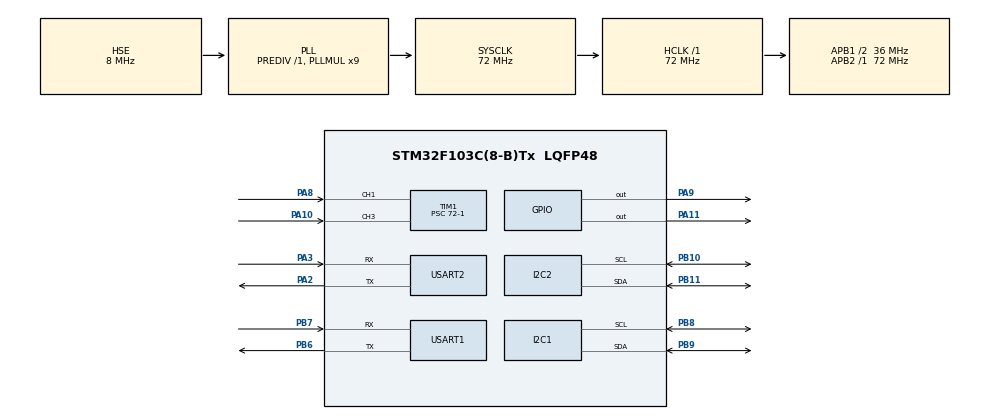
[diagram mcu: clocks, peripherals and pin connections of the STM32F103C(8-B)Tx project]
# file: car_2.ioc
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I2C1.I2C_Mode=I2C_Fast
I2C2.I2C_Mode=I2C_Fast
Mcu.Family=STM32F1
Mcu.Name=STM32F103C(8-B)Tx
Mcu.Package=LQFP48
NVIC.PriorityGroup=NVIC_PRIORITYGROUP_4
NVIC.TIM1_CC_IRQn=true\:0\:0\:false\:false\:true\:true\:true\:true
NVIC.USART2_IRQn=true\:0\:0\:false\:false\:true\:true\:true\:true
PA10.Signal=S_TIM1_CH3
PA11.Signal=GPIO_Output
PA13.Mode=Serial_Wire
PA13.Signal=SYS_JTMS-SWDIO
PA14.Mode=Serial_Wire
PA14.Signal=SYS_JTCK-SWCLK
PA2.Mode=Asynchronous
PA2.Signal=USART2_TX
PA3.Mode=Asynchronous
PA3.Signal=USART2_RX
PA8.Signal=S_TIM1_CH1
PA9.Signal=GPIO_Output
PB10.Mode=I2C
PB10.Signal=I2C2_SCL
PB11.Mode=I2C
PB11.Signal=I2C2_SDA
PB6.Mode=Asynchronous
PB6.Signal=USART1_TX
PB7.Mode=Asynchronous
PB7.Signal=USART1_RX
PB8.Mode=I2C
PB8.Signal=I2C1_SCL
PB9.Mode=I2C
PB9.Signal=I2C1_SDA
PD0-OSC_IN.Mode=HSE-External-Oscillator
PD0-OSC_IN.Signal=RCC_OSC_IN
PD1-OSC_OUT.Mode=HSE-External-Oscillator
PD1-OSC_OUT.Signal=RCC_OSC_OUT
ProjectManager.HeapSize=0x200
ProjectManager.StackSize=0x400
ProjectManager.TargetToolchain=MDK-ARM V5.32
RCC.AHBFreq_Value=72000000
RCC.APB1CLKDivider=RCC_HCLK_DIV2
RCC.APB1Freq_Value=36000000
RCC.APB1TimFreq_Value=72000000
RCC.APB2Freq_Value=72000000
RCC.APB2TimFreq_Value=72000000
RCC.HCLKFreq_Value=72000000
RCC.PLLMUL=RCC_PLL_MUL9
RCC.PLLSourceVirtual=RCC_PLLSOURCE_HSE
RCC.SYSCLKFreq_VALUE=72000000
RCC.SYSCLKSource=RCC_SYSCLKSOURCE_PLLCLK
RCC.USBFreq_Value=72000000
SH.S_TIM1_CH1.0=TIM1_CH1,Input_Capture1_from_TI1
SH.S_TIM1_CH3.0=TIM1_CH3,Input_Capture3_from_TI3
TIM1.Channel-Input_Capture1_from_TI1=TIM_CHANNEL_1
TIM1.Channel-Input_Capture2_from_TI1_63=TIM_CHANNEL_2
TIM1.Channel-Input_Capture3_from_TI3=TIM_CHANNEL_3
TIM1.Channel-Input_Capture4_from_TI3_63=TIM_CHANNEL_4
TIM1.ICPolarity_CH2=TIM_INPUTCHANNELPOLARITY_FALLING
TIM1.ICPolarity_CH4=TIM_INPUTCHANNELPOLARITY_FALLING
TIM1.Prescaler=72-1
USART1.VirtualMode=VM_ASYNC
USART2.VirtualMode=VM_ASYNC
VP_TIM1_VS_ClockSourceINT.Mode=Internal
VP_TIM1_VS_indirect_ch1.Mode=Input_Capture2_from_TI1_63
VP_TIM1_VS_indirect_ch3.Mode=Input_Capture4_from_TI3_63
board=custom

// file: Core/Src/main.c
/* USER CODE BEGIN Header */
/**
  ******************************************************************************
  * @file           : main.c
  * @brief          : Main program body
  ******************************************************************************
  * @attention
  *
  * Copyright (c) 2026 STMicroelectronics.
  * All rights reserved.
  *
  * This software is licensed under terms that can be found in the LICENSE file
  * in the root directory of this software component.
  * If no LICENSE file comes with this software, it is provided AS-IS.
  *
  ******************************************************************************
  */
/* USER CODE END Header */
#include "main.h"
#include "i2c.h"
#include "tim.h"
#include "usart.h"
#include "gpio.h"

/* USER CODE BEGIN Includes */
#include "oled.h"
#include "stdio.h"
#include "font.h"
/* USER CODE END Includes */

void SystemClock_Config(void);

/* USER CODE BEGIN 0 */
int upEdge=0;
int downEdge=0;
float distance=0;
float distance_2=0;
void HAL_TIM_IC_CaptureCallback(TIM_HandleTypeDef *htim)
{
	if(htim==&htim1 && htim->Channel==HAL_TIM_ACTIVE_CHANNEL_4)
	{
		upEdge=HAL_TIM_ReadCapturedValue(htim,TIM_CHANNEL_3);
		downEdge=HAL_TIM_ReadCapturedValue(htim,TIM_CHANNEL_4);
		distance=(downEdge-upEdge)*0.034/2;

	}
	if(htim==&htim1 && htim->Channel==HAL_TIM_ACTIVE_CHANNEL_2)
	{
		upEdge=HAL_TIM_ReadCapturedValue(htim,TIM_CHANNEL_1);
		downEdge=HAL_TIM_ReadCapturedValue(htim,TIM_CHANNEL_2);
		distance_2=(downEdge-upEdge)*0.034/2;

	}
}
/* USER CODE END 0 */

int main(void)
{

  /* MCU Configuration--------------------------------------------------------*/

  /* Reset of all peripherals, Initializes the Flash interface and the Systick. */
  HAL_Init();

  /* Configure the system clock */
  SystemClock_Config();

  /* Initialize all configured peripherals */
  MX_GPIO_Init();
  MX_TIM1_Init();
  MX_I2C2_Init();
  MX_I2C1_Init();
  MX_USART2_UART_Init();
  MX_USART1_UART_Init();
  /* USER CODE BEGIN 2 */
  HAL_Delay(100);
  OLED_Init();
  HAL_TIM_Base_Start(&htim1);
  HAL_TIM_IC_Start(&htim1,TIM_CHANNEL_3);
  HAL_TIM_IC_Start_IT(&htim1,TIM_CHANNEL_4);
  HAL_TIM_IC_Start(&htim1,TIM_CHANNEL_1);
  HAL_TIM_IC_Start_IT(&htim1,TIM_CHANNEL_2);

  char message[20]="";
  char message_2[20]="";
  char CarState[20]="";
  char CarState_2[20]="";
  char Time[20]="";
  char Time_2[20]="";
  char Money[20]="";
  char Money_2[20]="";
  uint32_t busy_start_time = 0;
  uint32_t busy_start_time2 = 0;
  uint8_t is_busy1 = 0;
  uint8_t is_busy2=0;
  uint32_t busy_duration1 = 0;
  uint32_t busy_duration2 = 0;

  /* USER CODE END 2 */

  /* Infinite loop */
  /* USER CODE BEGIN WHILE */
  while (1)
  {

	 uint32_t now = HAL_GetTick();
	  HAL_GPIO_WritePin(GPIOA,GPIO_PIN_11,GPIO_PIN_SET);
	  HAL_Delay(1);
	  HAL_GPIO_WritePin(GPIOA,GPIO_PIN_11,GPIO_PIN_RESET);
	  //__HAL_TIM_SET_COUNTER(&htim1,0);
	  HAL_GPIO_WritePin(GPIOA,GPIO_PIN_9,GPIO_PIN_SET);
	  HAL_Delay(1);
	  HAL_GPIO_WritePin(GPIOA,GPIO_PIN_9,GPIO_PIN_RESET);
	  __HAL_TIM_SET_COUNTER(&htim1,0);

	  uint32_t sec1 = busy_duration1 / 1000;
      uint32_t min1 = sec1 / 60;

      sec1 = sec1 % 60;

	 uint32_t sec2 = busy_duration2 / 1000;
      uint32_t min2 = sec2 / 60;

      sec2 = sec2 % 60;
	  sprintf(message,"%.2fcm",distance);
	  sprintf(message_2,"%.2fcm",distance_2);
	  sprintf(Time,"%d分:%d秒",min1,sec1);
	  sprintf(Time_2,"%d分:%d秒",min2,sec2);

	  sprintf(Money,"%d元",sec1);
	  sprintf(Money_2,"%d元",sec2);
	  if(distance <= 3)
    {
        if(is_busy1 == 0)
        {
            is_busy1 = 1;
            busy_start_time = now;
        }

        busy_duration1 = now - busy_start_time;
        sprintf(CarState,"占用");
    }
    else
    {
        is_busy1 = 0;
        busy_duration1 = 0;
        sprintf(CarState,"空闲");
    }
	if(distance_2 <= 3)
    {
        if(is_busy2 == 0)
        {
            is_busy2 = 1;
            busy_start_time2 = now;
        }

        busy_duration2 = now - busy_start_time2;
        sprintf(CarState_2,"占用");
    }
    else
    {
        is_busy2 = 0;
        busy_duration2 = 0;
        sprintf(CarState_2,"空闲");
    }

	  OLED_NewFrame();

	  OLED_PrintString(0,0,CarState,&font16x16,OLED_COLOR_NORMAL);
	  OLED_PrintString(0,16,Time,&font16x16,OLED_COLOR_NORMAL);
	  OLED_PrintString(0,32,Money,&font16x16,OLED_COLOR_NORMAL);
	  OLED_PrintString(0,48,message,&font16x16,OLED_COLOR_NORMAL);

	  OLED_ShowFrame2();

	  OLED_NewFrame();
	  OLED_PrintString(0,0,CarState_2,&font16x16,OLED_COLOR_NORMAL);
	  OLED_PrintString(0,16,Time_2,&font16x16,OLED_COLOR_NORMAL);
	  OLED_PrintString(0,32,Money_2,&font16x16,OLED_COLOR_NORMAL);
	  OLED_PrintString(0,48,message_2,&font16x16,OLED_COLOR_NORMAL);
	  OLED_ShowFrame1();

    /* USER CODE END WHILE */

  }
}

void SystemClock_Config(void)
{
  RCC_OscInitTypeDef RCC_OscInitStruct = {0};
  RCC_ClkInitTypeDef RCC_ClkInitStruct = {0};

  /** Initializes the RCC Oscillators according to the specified parameters
  * in the RCC_OscInitTypeDef structure.
  */
  RCC_OscInitStruct.OscillatorType = RCC_OSCILLATORTYPE_HSE;
  RCC_OscInitStruct.HSEState = RCC_HSE_ON;
  RCC_OscInitStruct.HSEPredivValue = RCC_HSE_PREDIV_DIV1;
  RCC_OscInitStruct.HSIState = RCC_HSI_ON;
  RCC_OscInitStruct.PLL.PLLState = RCC_PLL_ON;
  RCC_OscInitStruct.PLL.PLLSource = RCC_PLLSOURCE_HSE;
  RCC_OscInitStruct.PLL.PLLMUL = RCC_PLL_MUL9;
  if (HAL_RCC_OscConfig(&RCC_OscInitStruct) != HAL_OK)
  {
    Error_Handler();
  }

  /** Initializes the CPU, AHB and APB buses clocks
  */
  RCC_ClkInitStruct.ClockType = RCC_CLOCKTYPE_HCLK|RCC_CLOCKTYPE_SYSCLK
                              |RCC_CLOCKTYPE_PCLK1|RCC_CLOCKTYPE_PCLK2;
  RCC_ClkInitStruct.SYSCLKSource = RCC_SYSCLKSOURCE_PLLCLK;
  RCC_ClkInitStruct.AHBCLKDivider = RCC_SYSCLK_DIV1;
  RCC_ClkInitStruct.APB1CLKDivider = RCC_HCLK_DIV2;
  RCC_ClkInitStruct.APB2CLKDivider = RCC_HCLK_DIV1;

  if (HAL_RCC_ClockConfig(&RCC_ClkInitStruct, FLASH_LATENCY_2) != HAL_OK)
  {
    Error_Handler();
  }
}

void Error_Handler(void)
{
  __disable_irq();
  while (1)
  {
  }
}
